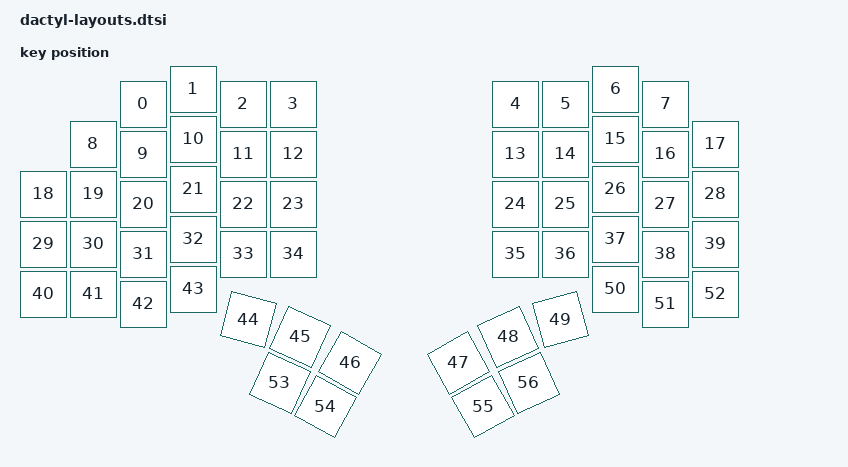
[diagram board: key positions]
#include <physical_layouts.dtsi>

/ {
    physical_layout0: physical_layout_0 {
        compatible = "zmk,physical-layout";
        display-name = "Default";
        
        keys  //                     w   h    x    y     rot    rx    ry
            = <&key_physical_attrs 100 100  200   30       0     0     0>
            , <&key_physical_attrs 100 100  300    0       0     0     0>
            , <&key_physical_attrs 100 100  400   30       0     0     0>
            , <&key_physical_attrs 100 100  500   30       0     0     0>
            , <&key_physical_attrs 100 100  945   30       0     0     0>
            , <&key_physical_attrs 100 100 1045   30       0     0     0>
            , <&key_physical_attrs 100 100 1145    0       0     0     0>
            , <&key_physical_attrs 100 100 1245   30       0     0     0>
            , <&key_physical_attrs 100 100  100  110       0     0     0>
            , <&key_physical_attrs 100 100  200  130       0     0     0>
            , <&key_physical_attrs 100 100  300  100       0     0     0>
            , <&key_physical_attrs 100 100  400  130       0     0     0>
            , <&key_physical_attrs 100 100  500  130       0     0     0>
            , <&key_physical_attrs 100 100  945  130       0     0     0>
            , <&key_physical_attrs 100 100 1045  130       0     0     0>
            , <&key_physical_attrs 100 100 1145  100       0     0     0>
            , <&key_physical_attrs 100 100 1245  130       0     0     0>
            , <&key_physical_attrs 100 100 1345  110       0     0     0>
            , <&key_physical_attrs 100 100    0  210       0     0     0>
            , <&key_physical_attrs 100 100  100  210       0     0     0>
            , <&key_physical_attrs 100 100  200  230       0     0     0>
            , <&key_physical_attrs 100 100  300  200       0     0     0>
            , <&key_physical_attrs 100 100  400  230       0     0     0>
            , <&key_physical_attrs 100 100  500  230       0     0     0>
            , <&key_physical_attrs 100 100  945  230       0     0     0>
            , <&key_physical_attrs 100 100 1045  230       0     0     0>
            , <&key_physical_attrs 100 100 1145  200       0     0     0>
            , <&key_physical_attrs 100 100 1245  230       0     0     0>
            , <&key_physical_attrs 100 100 1345  210       0     0     0>
            , <&key_physical_attrs 100 100    0  310       0     0     0>
            , <&key_physical_attrs 100 100  100  310       0     0     0>
            , <&key_physical_attrs 100 100  200  330       0     0     0>
            , <&key_physical_attrs 100 100  300  300       0     0     0>
            , <&key_physical_attrs 100 100  400  330       0     0     0>
            , <&key_physical_attrs 100 100  500  330       0     0     0>
            , <&key_physical_attrs 100 100  945  330       0     0     0>
            , <&key_physical_attrs 100 100 1045  330       0     0     0>
            , <&key_physical_attrs 100 100 1145  300       0     0     0>
            , <&key_physical_attrs 100 100 1245  330       0     0     0>
            , <&key_physical_attrs 100 100 1345  310       0     0     0>
            , <&key_physical_attrs 100 100    0  410       0     0     0>
            , <&key_physical_attrs 100 100  100  410       0     0     0>
            , <&key_physical_attrs 100 100  200  430       0     0     0>
            , <&key_physical_attrs 100 100  300  400       0     0     0>
            , <&key_physical_attrs 100 100  425  450    1500   425   450>
            , <&key_physical_attrs 100 100  540  480    2450   540   480>
            , <&key_physical_attrs 100 100  645  530    2940   645   530>
            , <&key_physical_attrs 100 100  800  530 (-2940)   900   530>
            , <&key_physical_attrs 100 100  905  480 (-2450)  1005   480>
            , <&key_physical_attrs 100 100 1020  450 (-1500)  1120   450>
            , <&key_physical_attrs 100 100 1145  400       0     0     0>
            , <&key_physical_attrs 100 100 1245  430       0     0     0>
            , <&key_physical_attrs 100 100 1345  410       0     0     0>
            , <&key_physical_attrs 100 100  540  580    2450   540   480>
            , <&key_physical_attrs 100 100  645  630    2940   645   530>
            , <&key_physical_attrs 100 100  800  630 (-2940)   900   530>
            , <&key_physical_attrs 100 100  905  580 (-2450)  1005   480>
            ;
    };
};
